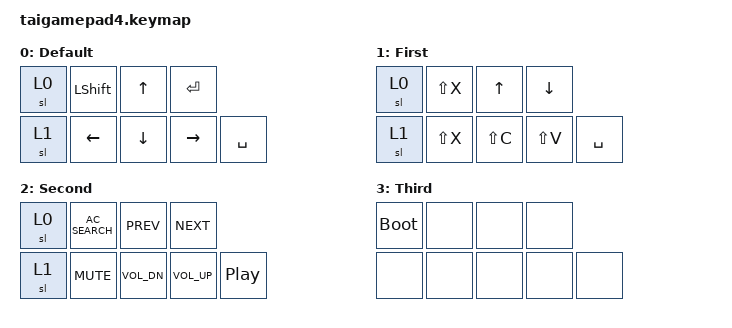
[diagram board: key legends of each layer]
/*
 * 
 *
 * SPDX-License-Identifier: MIT
 */

#include <behaviors.dtsi>
#include <dt-bindings/zmk/keys.h>

#define DEFAULT 0
#define FIRST 1

/ {
    keymap {
        compatible = "zmk,keymap";
        label = "taigamepad4";

        default_layer {
            label = "Default";
            bindings = <
&sl 0  &kp LSHFT       &kp UP_ARROW    &kp RET
&sl 1  &kp LEFT_ARROW  &kp DOWN_ARROW  &kp RIGHT_ARROW  &kp SPACE
            >;
        };


        first_layer {
            label = "First";
            bindings = <
&sl 0  &kp LS(X)   &kp UP_ARROW &kp  DOWN_ARROW
&sl 1  &kp LS(X)   &kp LS(C)    &kp  LS(V)   &kp SPACE
            >;
        };


        second_layer {
            label = "Second";
            bindings = <
&sl 0  &kp C_AC_SEARCH  &kp C_PREV  &kp  C_NEXT
&sl 1  &kp C_MUTE   &kp C_VOL_DN   &kp C_VOL_UP   &kp C_PLAY_PAUSE
            >;
        };

        third_layer {
            label = "Third";
            bindings = <
&bootloader  &none  &none  &none
&none        &none  &none  &none  &none
            >;
        };
    };
};
